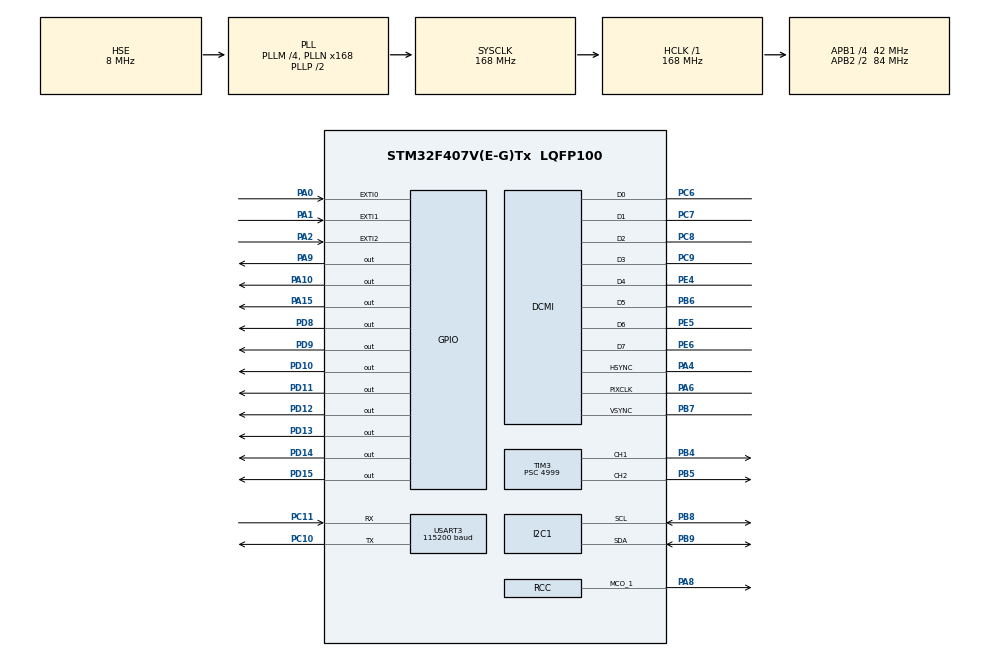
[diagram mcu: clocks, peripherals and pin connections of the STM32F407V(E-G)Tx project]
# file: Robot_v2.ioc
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DCMI.PCKPolarity=DCMI_PCKPOLARITY_RISING
DCMI.VSPolarity=DCMI_VSPOLARITY_HIGH
Dma.DCMI.1.Direction=DMA_PERIPH_TO_MEMORY
Dma.DCMI.1.FIFOMode=DMA_FIFOMODE_DISABLE
Dma.DCMI.1.Instance=DMA2_Stream1
Dma.DCMI.1.MemDataAlignment=DMA_MDATAALIGN_WORD
Dma.DCMI.1.MemInc=DMA_MINC_DISABLE
Dma.DCMI.1.Mode=DMA_NORMAL
Dma.DCMI.1.PeriphDataAlignment=DMA_PDATAALIGN_WORD
Dma.DCMI.1.PeriphInc=DMA_PINC_DISABLE
Dma.DCMI.1.Priority=DMA_PRIORITY_LOW
Dma.Request0=USART3_TX
Dma.Request1=DCMI
Dma.USART3_TX.0.Direction=DMA_MEMORY_TO_PERIPH
Dma.USART3_TX.0.FIFOMode=DMA_FIFOMODE_DISABLE
Dma.USART3_TX.0.Instance=DMA1_Stream3
Dma.USART3_TX.0.MemDataAlignment=DMA_MDATAALIGN_BYTE
Dma.USART3_TX.0.MemInc=DMA_MINC_DISABLE
Dma.USART3_TX.0.Mode=DMA_NORMAL
Dma.USART3_TX.0.PeriphDataAlignment=DMA_PDATAALIGN_BYTE
Dma.USART3_TX.0.PeriphInc=DMA_PINC_DISABLE
Dma.USART3_TX.0.Priority=DMA_PRIORITY_HIGH
I2C1.DualAddressMode=I2C_DUALADDRESS_DISABLE
I2C1.NoStretchMode=I2C_NOSTRETCH_DISABLE
I2C1.OwnAddress=0
Mcu.Family=STM32F4
Mcu.Name=STM32F407V(E-G)Tx
Mcu.Package=LQFP100
NVIC.DCMI_IRQn=true\:0\:0\:false\:false\:true\:true\:true
NVIC.DMA1_Stream3_IRQn=true\:0\:0\:false\:false\:true\:false\:true
NVIC.DMA2_Stream1_IRQn=true\:0\:0\:false\:false\:true\:false\:true
NVIC.EXTI0_IRQn=true\:0\:0\:false\:false\:true\:true\:true
NVIC.EXTI1_IRQn=true\:0\:0\:false\:false\:true\:true\:true
NVIC.EXTI2_IRQn=true\:0\:0\:false\:false\:true\:true\:true
NVIC.I2C1_ER_IRQn=true\:0\:0\:false\:false\:true\:true\:true
NVIC.I2C1_EV_IRQn=true\:0\:0\:false\:false\:true\:true\:true
NVIC.PriorityGroup=NVIC_PRIORITYGROUP_4
NVIC.RCC_IRQn=true\:0\:0\:false\:false\:true\:true\:false
NVIC.TIM3_IRQn=true\:0\:0\:false\:false\:true\:true\:true
NVIC.USART3_IRQn=true\:0\:0\:false\:false\:true\:true\:true
PA0-WKUP.GPIO_PuPd=GPIO_PULLDOWN
PA0-WKUP.Signal=GPXTI0
PA1.GPIO_PuPd=GPIO_PULLDOWN
PA1.Signal=GPXTI1
PA10.Signal=GPIO_Output
PA13.Mode=Serial_Wire
PA13.Signal=SYS_JTMS-SWDIO
PA14.Mode=Serial_Wire
PA14.Signal=SYS_JTCK-SWCLK
PA15.Signal=GPIO_Output
PA2.Signal=GPXTI2
PA4.GPIO_Speed=GPIO_SPEED_FREQ_VERY_HIGH
PA4.Mode=Slave_8_bits_External_Synchro
PA4.Signal=DCMI_HSYNC
PA6.GPIO_Speed=GPIO_SPEED_FREQ_VERY_HIGH
PA6.Mode=Slave_8_bits_External_Synchro
PA6.Signal=DCMI_PIXCLK
PA8.GPIO_Speed=GPIO_SPEED_FREQ_VERY_HIGH
PA8.Mode=Clock-out-1
PA8.Signal=RCC_MCO_1
PA9.Signal=GPIO_Output
PB4.Signal=S_TIM3_CH1
PB5.Signal=S_TIM3_CH2
PB6.GPIO_Speed=GPIO_SPEED_FREQ_VERY_HIGH
PB6.Mode=Slave_8_bits_External_Synchro
PB6.Signal=DCMI_D5
PB7.GPIO_Speed=GPIO_SPEED_FREQ_VERY_HIGH
PB7.Mode=Slave_8_bits_External_Synchro
PB7.Signal=DCMI_VSYNC
PB8.Mode=I2C
PB8.Signal=I2C1_SCL
PB9.Mode=I2C
PB9.Signal=I2C1_SDA
PC10.Mode=Asynchronous
PC10.Signal=USART3_TX
PC11.Mode=Asynchronous
PC11.Signal=USART3_RX
PC6.GPIO_Speed=GPIO_SPEED_FREQ_VERY_HIGH
PC6.Mode=Slave_8_bits_External_Synchro
PC6.Signal=DCMI_D0
PC7.GPIO_Speed=GPIO_SPEED_FREQ_VERY_HIGH
PC7.Mode=Slave_8_bits_External_Synchro
PC7.Signal=DCMI_D1
PC8.GPIO_Speed=GPIO_SPEED_FREQ_VERY_HIGH
PC8.Mode=Slave_8_bits_External_Synchro
PC8.Signal=DCMI_D2
PC9.GPIO_Speed=GPIO_SPEED_FREQ_VERY_HIGH
PC9.Mode=Slave_8_bits_External_Synchro
PC9.Signal=DCMI_D3
PD10.Signal=GPIO_Output
PD11.Signal=GPIO_Output
PD12.Signal=GPIO_Output
PD13.Signal=GPIO_Output
PD14.Signal=GPIO_Output
PD15.Signal=GPIO_Output
PD8.Signal=GPIO_Output
PD9.Signal=GPIO_Output
PE4.GPIO_Speed=GPIO_SPEED_FREQ_VERY_HIGH
PE4.Mode=Slave_8_bits_External_Synchro
PE4.Signal=DCMI_D4
PE5.GPIO_Speed=GPIO_SPEED_FREQ_VERY_HIGH
PE5.Mode=Slave_8_bits_External_Synchro
PE5.Signal=DCMI_D6
PE6.GPIO_Speed=GPIO_SPEED_FREQ_VERY_HIGH
PE6.Mode=Slave_8_bits_External_Synchro
PE6.Signal=DCMI_D7
PH0-OSC_IN.Mode=HSE-External-Oscillator
PH0-OSC_IN.Signal=RCC_OSC_IN
PH1-OSC_OUT.Mode=HSE-External-Oscillator
PH1-OSC_OUT.Signal=RCC_OSC_OUT
ProjectManager.HeapSize=0x200
ProjectManager.StackSize=0x400
ProjectManager.TargetToolchain=STM32CubeIDE
RCC.48MHZClocksFreq_Value=84000000
RCC.AHBFreq_Value=168000000
RCC.APB1CLKDivider=RCC_HCLK_DIV4
RCC.APB1Freq_Value=42000000
RCC.APB1TimFreq_Value=84000000
RCC.APB2CLKDivider=RCC_HCLK_DIV2
RCC.APB2Freq_Value=84000000
RCC.APB2TimFreq_Value=168000000
RCC.CortexFreq_Value=168000000
RCC.HCLKFreq_Value=168000000
RCC.HSE_VALUE=8000000
RCC.HSI_VALUE=16000000
RCC.LSE_VALUE=32768
RCC.PLLM=4
RCC.PLLN=168
RCC.PLLSourceVirtual=RCC_PLLSOURCE_HSE
RCC.RCC_MCO1Source=RCC_MCO1SOURCE_PLLCLK
RCC.RCC_MCODiv1=RCC_MCODIV_4
RCC.SYSCLKFreq_VALUE=168000000
RCC.SYSCLKSource=RCC_SYSCLKSOURCE_PLLCLK
RCC.VCOOutputFreq_Value=336000000
RCC.VDD_VALUE=3.6
SH.S_TIM3_CH1.0=TIM3_CH1,PWM Generation1 CH1
SH.S_TIM3_CH2.0=TIM3_CH2,PWM Generation2 CH2
TIM1.Channel-Input_Capture1_from_TI1=TIM_CHANNEL_1
TIM1.Period=99
TIM1.Prescaler=4999
TIM3.Channel-PWM\ Generation1\ CH1=TIM_CHANNEL_1
TIM3.Channel-PWM\ Generation2\ CH2=TIM_CHANNEL_2
TIM3.Period=99
TIM3.Prescaler=4999
USART3.BaudRate=115200
USART3.VirtualMode=VM_ASYNC
VP_TIM1_VS_ClockSourceINT.Mode=Internal
VP_TIM3_VS_ClockSourceINT.Mode=Internal
board=custom

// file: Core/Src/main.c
/* USER CODE BEGIN Header */
/**
  ******************************************************************************
  * @file           : main.c
  * @brief          : Main program body
  ******************************************************************************
  * @attention
  *
  * <h2><center>&copy; Copyright (c) 2020 STMicroelectronics.
  * All rights reserved.</center></h2>
  *
  * This software component is licensed by ST under BSD 3-Clause license,
  * the "License"; You may not use this file except in compliance with the
  * License. You may obtain a copy of the License at:
  *                        opensource.org/licenses/BSD-3-Clause
  *
  ******************************************************************************
  */
/* USER CODE END Header */

#include "main.h"

/* USER CODE BEGIN Includes */
#include "stdio.h"
#include "string.h"
#include "stdlib.h"
#include "common.h"
#include "./ov7670/ov7670.h"

/* USER CODE END Includes */

DCMI_HandleTypeDef hdcmi;
DMA_HandleTypeDef hdma_dcmi;

I2C_HandleTypeDef hi2c1;

TIM_HandleTypeDef htim1;
TIM_HandleTypeDef htim3;

UART_HandleTypeDef huart3;
DMA_HandleTypeDef hdma_usart3_tx;

/* USER CODE BEGIN PV */
int j;
int k;
int Duty_left, Duty_right, dir_left, dir_right;

uint8_t sendUART[4] = {'A', 'T','\r','\n'};
uint16_t sizeSendUART = 4;

uint16_t size_s_mux_1 = 13;
uint8_t s_mux_1[13] = {'A','T','+','C','I','P','M','U','X','=','1','\r','\n'};

uint16_t size_s_serv_1 = 22;
uint8_t s_serv_1[22] = {'A','T','+','C','I','P','S','E','R','V','E','R','=','1',',','5','0','1','0','0','\r','\n'};

uint8_t receiveUART[1];
uint16_t sizeReceiveUART = 1;

// i2c table begin

// i2c table end

char packet[100];

int read_bool=0;
/* USER CODE END PV */

void SystemClock_Config(void);
static void MX_GPIO_Init(void);
static void MX_DMA_Init(void);
static void MX_USART3_UART_Init(void);
static void MX_TIM3_Init(void);
static void MX_DCMI_Init(void);
static void MX_I2C1_Init(void);
static void MX_TIM1_Init(void);
/* USER CODE BEGIN PFP */

int _write(int file, char *ptr, int len){ // do fprint
	int i=0;
	for(i=0; i<len; i++){
		ITM_SendChar(*ptr++);

	}
	return len;
}

void HAL_GPIO_EXTI_Callback(uint16_t GPIO_Pin)
{
	//HAL_Delay(10);
	//HAL_GPIO_TogglePin(GPIOD, GPIO_PIN_13);
	if(HAL_GPIO_ReadPin(GPIOA, GPIO_PIN_0) == GPIO_PIN_SET){

		HAL_GPIO_TogglePin(GPIOD, GPIO_PIN_14);
		//Duty-=1;
	//	if(Duty < 100){
	//		Duty = Duty + 1;
	//	}
	} else if(HAL_GPIO_ReadPin(GPIOA, GPIO_PIN_1) == GPIO_PIN_SET){
	//	HAL_Delay(10);
		HAL_GPIO_TogglePin(GPIOD, GPIO_PIN_13);
	//	if(Duty > 0){
	//		Duty = Duty - 1;
	//	}

	}

	for(int i=0; i<1000000; i++){

	}

}
	/*else if(HAL_GPIO_ReadPin(GPIOA, GPIO_PIN_1) == GPIO_PIN_SET) {
		HAL_GPIO_TogglePin(GPIOD, GPIO_PIN_14);
		Duty += 10;
	} else if(HAL_GPIO_ReadPin(GPIOA, GPIO_PIN_2) == GPIO_PIN_SET) {
		HAL_GPIO_TogglePin(GPIOD, GPIO_PIN_14);
		Duty -= 10;
	}*/
	//HAL_Delay(5);
void process_pack_motor(){
	printf("process_motor\n");
	char str_dir_left;
	char str_dir_right;
	char str_duty_left[5];
	char str_duty_right[5];

	//wypisanie całego pakietu
	for(int i=0; i<strlen(packet); i++){
		printf("%c",packet[i]);
	}
	printf("\n");

	str_dir_left = packet[3];
	str_dir_right = packet[5];

	str_duty_left[0] = packet[7];
	str_duty_left[1] = packet[8];

	str_duty_right[0] = packet[10];
	str_duty_right[1] = packet[11];
	//strncat(str_duty_right, &packet[10], 1);

	Duty_left = atoi(str_duty_left);
	Duty_right = atoi(str_duty_right);
	dir_left = str_dir_left - '0';
    dir_right = str_dir_right - '0';
	/*char str[10] = "80";
	dir_left = atoi(str);
	printf("a - %d",dir_left);
	char str2[10] = "07";
	dir_right = atoi(str2);*/

//	printf("dir-left - %c\n",str_dir_right);
//	printf("dir-right - %c\n",str_dir_left);
//	printf("duty-left - %s\n",str_duty_left);
//	printf("duty-right - %s\n",str_duty_right);

	/*for(int i=0; i<2; i++){
		printf("dir-left - %c\n",str_duty_left[i]);
	}
	for(int i=0; i<2; i++){
		printf("dir-left - %c\n",str_duty_right[i]);
	}*/

	printf("dir-left - %d\n",dir_left);
	printf("dir-right - %d\n",dir_right);
	printf("duty-left - %d\n",Duty_left);
	printf("duty-right - %d\n",Duty_right);

	if(dir_left == 1){
		HAL_GPIO_WritePin(GPIOD, GPIO_PIN_12, GPIO_PIN_SET);
		HAL_GPIO_WritePin(GPIOD, GPIO_PIN_13, GPIO_PIN_RESET);
	} else if(dir_left == 0){
		HAL_GPIO_WritePin(GPIOD, GPIO_PIN_12, GPIO_PIN_RESET);
		HAL_GPIO_WritePin(GPIOD, GPIO_PIN_13, GPIO_PIN_SET);
	} else if(dir_left == 2){
		HAL_GPIO_WritePin(GPIOD, GPIO_PIN_12, GPIO_PIN_RESET);
		HAL_GPIO_WritePin(GPIOD, GPIO_PIN_13, GPIO_PIN_RESET);
	}

	if(dir_right == 1){
		HAL_GPIO_WritePin(GPIOD, GPIO_PIN_14, GPIO_PIN_SET);
		HAL_GPIO_WritePin(GPIOD, GPIO_PIN_15, GPIO_PIN_RESET);
	} else if(dir_right == 0){
		HAL_GPIO_WritePin(GPIOD, GPIO_PIN_14, GPIO_PIN_RESET);
		HAL_GPIO_WritePin(GPIOD, GPIO_PIN_15, GPIO_PIN_SET);
	} else if(dir_right == 2){
		HAL_GPIO_WritePin(GPIOD, GPIO_PIN_14, GPIO_PIN_RESET);
		HAL_GPIO_WritePin(GPIOD, GPIO_PIN_15, GPIO_PIN_RESET);
	}

	for(int i=0; i<strlen(packet); i++){
		packet[i]='\0';
	}

}

void read_pack(char mark){

	printf("read: ");
	//printf("%c",mark);
	strncat(packet, &mark, 1);

	if(mark == ';'){
		for(int i=0; i<strlen(packet); i++){
			printf("%c",packet[i]);
		}

		if(packet[1] == '0'){
			process_pack_motor();
		}

		for(int i=0; i<strlen(packet); i++){
			packet[i]='\0';
		}
	}
	/*if(mark != ':'){
		printf("read2\n");
		if(mark == ';'){
			printf("read3\n");
			if(packet[0] == '0'){
				printf("%c",packet[0]);
				process_pack_motor();
			}
		} else {
			printf("read4\n");
			strncat(packet, &mark, 1);
			//packet += mark;
			printf("%c",mark);
		}
	}*/

}

void HAL_TIM_PeriodElapsedCallback(TIM_HandleTypeDef *htim){

	 TIM3->CCR1 = Duty_left;
	 TIM3->CCR2 = Duty_right;
	// HAL_UART_Transmit_IT(&huart3, sendUART, sizeSendUART);

}

void HAL_UART_RxCpltCallback(UART_HandleTypeDef *huart) {
	//printf("RX");
	if(huart->Instance == USART3){
		//HAL_GPIO_TogglePin(GPIOD, GPIO_PIN_14);
		printf("%c", receiveUART[0]);
		//printf("\n");
		//printf(" \n");

		if(receiveUART[0] == ':'){
			read_bool=1;
		}

		if(receiveUART[0] == ';'){
			read_bool=0;
			printf("[");
			printf("%c", receiveUART[0]);
			printf("]");
			read_pack(receiveUART[0]);

		}

		if(read_bool == 1){
			printf("[");
			printf("%c", receiveUART[0]);
			printf("]");
			read_pack(receiveUART[0]);
	    	//printf("%u", receiveUART[0]);

		}
		//HAL_Delay(100);
		HAL_UART_Receive_IT(&huart3, receiveUART, sizeReceiveUART);

	}
}

// i2c func begin

// i2c func end

/* USER CODE END PFP */

/* USER CODE BEGIN 0 */
volatile int i = 0;
uint8_t count=0; // do testów printf
/* USER CODE END 0 */

int main(void)
{

  /* MCU Configuration--------------------------------------------------------*/

  /* Reset of all peripherals, Initializes the Flash interface and the Systick. */
  HAL_Init();

  /* Configure the system clock */
  SystemClock_Config();

  /* Initialize all configured peripherals */
  MX_GPIO_Init();
  MX_DMA_Init();
  MX_USART3_UART_Init();
  MX_TIM3_Init();
  MX_DCMI_Init();
  MX_I2C1_Init();
  MX_TIM1_Init();
  /* USER CODE BEGIN 2 */

  //ITM_SendChar( 65 );
  Duty_left = 0;
  Duty_right = 0;
  HAL_GPIO_WritePin(GPIOD, GPIO_PIN_12, GPIO_PIN_RESET);
  HAL_GPIO_WritePin(GPIOD, GPIO_PIN_13, GPIO_PIN_RESET);
  HAL_GPIO_WritePin(GPIOD, GPIO_PIN_14, GPIO_PIN_RESET);
  HAL_GPIO_WritePin(GPIOD, GPIO_PIN_15, GPIO_PIN_RESET);

  HAL_GPIO_WritePin(GPIOD, GPIO_PIN_11, GPIO_PIN_SET);
  HAL_GPIO_WritePin(GPIOA, GPIO_PIN_9, GPIO_PIN_SET);

  HAL_TIM_Base_Start_IT(&htim3);
  HAL_TIM_PWM_Start(&htim3, TIM_CHANNEL_1);
  HAL_TIM_PWM_Start(&htim3, TIM_CHANNEL_2);
  //HAL_TIM_PWM_Start(&htim4, TIM_CHANNEL_3);

 // TIM4->CCR1 = Duty;
 // TIM4->CCR2 = Duty;

 // HAL_UART_Transmit_IT(&huart3, sendUART, sizeSendUART);

  HAL_UART_Receive_IT(&huart3, receiveUART, sizeReceiveUART);
  //HAL_UART_Transmit_IT(&huart3, sendUART, sizeSendUART);
 // printf("%u",sendUART[0]);
  printf("CONSOLE GOOD \n");
 // HAL_Delay(300);
 // HAL_UART_Transmit_IT(&huart3, sendUART, sizeSendUART);
  HAL_GPIO_WritePin(GPIOA, GPIO_PIN_10, GPIO_PIN_SET);
  HAL_UART_Transmit_IT(&huart3, sendUART, sizeSendUART);
  HAL_Delay(6000);
  HAL_UART_Transmit_IT(&huart3, s_mux_1, size_s_mux_1);
  HAL_GPIO_WritePin(GPIOD, GPIO_PIN_8, GPIO_PIN_SET);
  HAL_Delay(6000);
  HAL_GPIO_WritePin(GPIOD, GPIO_PIN_9, GPIO_PIN_SET);
  HAL_UART_Transmit_IT(&huart3, s_serv_1, size_s_serv_1);
  HAL_Delay(6000);
  HAL_GPIO_WritePin(GPIOA, GPIO_PIN_15, GPIO_PIN_SET);
// HAL_GPIO_WritePin(GPIOD, GPIO_PIN_10, GPIO_PIN_SET);
 // HAL_UART_Transmit_IT(&huart3, send_w_3, size_w3);

 // HAL_UART_Transmit_IT(&huart3, sendUART, sizeSendUART);

 // printf("%c", sendUART[0]);
 // printf("%c", sendUART[1]);

 // printf(sendUART[0]);

 // printf(receiveUART[0]);

  //i2c begin
  uint32_t DCH0DSA = 0;

  ov7670_init(&hdcmi, &hdma_dcmi, &hi2c1);
  ov7670_config(OV7670_MODE_QVGA_RGB565);
  ov7670_startCap(OV7670_CAP_CONTINUOUS, DCH0DSA);
 // ov7670_startCap();

  //i2c end

  /* USER CODE END 2 */

  /* Infinite loop */
  /* USER CODE BEGIN WHILE */
  while (1)
  {
	//HAL_UART_Transmit_IT(&huart3, sendUART, sizeSendUART);
	//printf("%c", sendUART[0]);
	//printf("%c", sendUART[1]);
	//printf(" \n");
   // HAL_Delay(2000);
	  //for (i=0;i<1000000;i++);

    /* USER CODE END WHILE */

    /* USER CODE BEGIN 3 */
	 // HAL_UART_Transmit_IT(&huart3, sendUART, sizeSendUART);
	// HAL_Delay(500);

  }
  /* USER CODE END 3 */
}

void SystemClock_Config(void)
{
  RCC_OscInitTypeDef RCC_OscInitStruct = {0};
  RCC_ClkInitTypeDef RCC_ClkInitStruct = {0};

  /** Configure the main internal regulator output voltage
  */
  __HAL_RCC_PWR_CLK_ENABLE();
  __HAL_PWR_VOLTAGESCALING_CONFIG(PWR_REGULATOR_VOLTAGE_SCALE1);
  /** Initializes the CPU, AHB and APB busses clocks
  */
  RCC_OscInitStruct.OscillatorType = RCC_OSCILLATORTYPE_HSE;
  RCC_OscInitStruct.HSEState = RCC_HSE_ON;
  RCC_OscInitStruct.PLL.PLLState = RCC_PLL_ON;
  RCC_OscInitStruct.PLL.PLLSource = RCC_PLLSOURCE_HSE;
  RCC_OscInitStruct.PLL.PLLM = 4;
  RCC_OscInitStruct.PLL.PLLN = 168;
  RCC_OscInitStruct.PLL.PLLP = RCC_PLLP_DIV2;
  RCC_OscInitStruct.PLL.PLLQ = 4;
  if (HAL_RCC_OscConfig(&RCC_OscInitStruct) != HAL_OK)
  {
    Error_Handler();
  }
  /** Initializes the CPU, AHB and APB busses clocks
  */
  RCC_ClkInitStruct.ClockType = RCC_CLOCKTYPE_HCLK|RCC_CLOCKTYPE_SYSCLK
                              |RCC_CLOCKTYPE_PCLK1|RCC_CLOCKTYPE_PCLK2;
  RCC_ClkInitStruct.SYSCLKSource = RCC_SYSCLKSOURCE_PLLCLK;
  RCC_ClkInitStruct.AHBCLKDivider = RCC_SYSCLK_DIV1;
  RCC_ClkInitStruct.APB1CLKDivider = RCC_HCLK_DIV4;
  RCC_ClkInitStruct.APB2CLKDivider = RCC_HCLK_DIV2;

  if (HAL_RCC_ClockConfig(&RCC_ClkInitStruct, FLASH_LATENCY_5) != HAL_OK)
  {
    Error_Handler();
  }
  HAL_RCC_MCOConfig(RCC_MCO1, RCC_MCO1SOURCE_PLLCLK, RCC_MCODIV_4);
}

static void MX_DCMI_Init(void)
{

  hdcmi.Instance = DCMI;
  hdcmi.Init.SynchroMode = DCMI_SYNCHRO_HARDWARE;
  hdcmi.Init.PCKPolarity = DCMI_PCKPOLARITY_RISING;
  hdcmi.Init.VSPolarity = DCMI_VSPOLARITY_HIGH;
  hdcmi.Init.HSPolarity = DCMI_HSPOLARITY_LOW;
  hdcmi.Init.CaptureRate = DCMI_CR_ALL_FRAME;
  hdcmi.Init.ExtendedDataMode = DCMI_EXTEND_DATA_8B;
  hdcmi.Init.JPEGMode = DCMI_JPEG_DISABLE;
  if (HAL_DCMI_Init(&hdcmi) != HAL_OK)
  {
    Error_Handler();
  }

}

static void MX_I2C1_Init(void)
{

  hi2c1.Instance = I2C1;
  hi2c1.Init.ClockSpeed = 100000;
  hi2c1.Init.DutyCycle = I2C_DUTYCYCLE_2;
  hi2c1.Init.OwnAddress1 = 0;
  hi2c1.Init.AddressingMode = I2C_ADDRESSINGMODE_7BIT;
  hi2c1.Init.DualAddressMode = I2C_DUALADDRESS_DISABLE;
  hi2c1.Init.OwnAddress2 = 0;
  hi2c1.Init.GeneralCallMode = I2C_GENERALCALL_DISABLE;
  hi2c1.Init.NoStretchMode = I2C_NOSTRETCH_DISABLE;
  if (HAL_I2C_Init(&hi2c1) != HAL_OK)
  {
    Error_Handler();
  }

}

static void MX_TIM1_Init(void)
{

  TIM_ClockConfigTypeDef sClockSourceConfig = {0};
  TIM_MasterConfigTypeDef sMasterConfig = {0};

  htim1.Instance = TIM1;
  htim1.Init.Prescaler = 4999;
  htim1.Init.CounterMode = TIM_COUNTERMODE_UP;
  htim1.Init.Period = 99;
  htim1.Init.ClockDivision = TIM_CLOCKDIVISION_DIV1;
  htim1.Init.RepetitionCounter = 0;
  htim1.Init.AutoReloadPreload = TIM_AUTORELOAD_PRELOAD_DISABLE;
  if (HAL_TIM_Base_Init(&htim1) != HAL_OK)
  {
    Error_Handler();
  }
  sClockSourceConfig.ClockSource = TIM_CLOCKSOURCE_INTERNAL;
  if (HAL_TIM_ConfigClockSource(&htim1, &sClockSourceConfig) != HAL_OK)
  {
    Error_Handler();
  }
  sMasterConfig.MasterOutputTrigger = TIM_TRGO_RESET;
  sMasterConfig.MasterSlaveMode = TIM_MASTERSLAVEMODE_DISABLE;
  if (HAL_TIMEx_MasterConfigSynchronization(&htim1, &sMasterConfig) != HAL_OK)
  {
    Error_Handler();
  }

}

static void MX_TIM3_Init(void)
{

  TIM_ClockConfigTypeDef sClockSourceConfig = {0};
  TIM_MasterConfigTypeDef sMasterConfig = {0};
  TIM_OC_InitTypeDef sConfigOC = {0};

  htim3.Instance = TIM3;
  htim3.Init.Prescaler = 4999;
  htim3.Init.CounterMode = TIM_COUNTERMODE_UP;
  htim3.Init.Period = 99;
  htim3.Init.ClockDivision = TIM_CLOCKDIVISION_DIV1;
  htim3.Init.AutoReloadPreload = TIM_AUTORELOAD_PRELOAD_DISABLE;
  if (HAL_TIM_Base_Init(&htim3) != HAL_OK)
  {
    Error_Handler();
  }
  sClockSourceConfig.ClockSource = TIM_CLOCKSOURCE_INTERNAL;
  if (HAL_TIM_ConfigClockSource(&htim3, &sClockSourceConfig) != HAL_OK)
  {
    Error_Handler();
  }
  if (HAL_TIM_PWM_Init(&htim3) != HAL_OK)
  {
    Error_Handler();
  }
  sMasterConfig.MasterOutputTrigger = TIM_TRGO_RESET;
  sMasterConfig.MasterSlaveMode = TIM_MASTERSLAVEMODE_DISABLE;
  if (HAL_TIMEx_MasterConfigSynchronization(&htim3, &sMasterConfig) != HAL_OK)
  {
    Error_Handler();
  }
  sConfigOC.OCMode = TIM_OCMODE_PWM1;
  sConfigOC.Pulse = 0;
  sConfigOC.OCPolarity = TIM_OCPOLARITY_HIGH;
  sConfigOC.OCFastMode = TIM_OCFAST_DISABLE;
  if (HAL_TIM_PWM_ConfigChannel(&htim3, &sConfigOC, TIM_CHANNEL_1) != HAL_OK)
  {
    Error_Handler();
  }
  if (HAL_TIM_PWM_ConfigChannel(&htim3, &sConfigOC, TIM_CHANNEL_2) != HAL_OK)
  {
    Error_Handler();
  }
  HAL_TIM_MspPostInit(&htim3);

}

static void MX_USART3_UART_Init(void)
{

  huart3.Instance = USART3;
  huart3.Init.BaudRate = 115200;
  huart3.Init.WordLength = UART_WORDLENGTH_8B;
  huart3.Init.StopBits = UART_STOPBITS_1;
  huart3.Init.Parity = UART_PARITY_NONE;
  huart3.Init.Mode = UART_MODE_TX_RX;
  huart3.Init.HwFlowCtl = UART_HWCONTROL_NONE;
  huart3.Init.OverSampling = UART_OVERSAMPLING_16;
  if (HAL_UART_Init(&huart3) != HAL_OK)
  {
    Error_Handler();
  }

}

static void MX_DMA_Init(void)
{

  /* DMA controller clock enable */
  __HAL_RCC_DMA1_CLK_ENABLE();
  __HAL_RCC_DMA2_CLK_ENABLE();

  /* DMA interrupt init */
  /* DMA1_Stream3_IRQn interrupt configuration */
  HAL_NVIC_SetPriority(DMA1_Stream3_IRQn, 0, 0);
  HAL_NVIC_EnableIRQ(DMA1_Stream3_IRQn);
  /* DMA2_Stream1_IRQn interrupt configuration */
  HAL_NVIC_SetPriority(DMA2_Stream1_IRQn, 0, 0);
  HAL_NVIC_EnableIRQ(DMA2_Stream1_IRQn);

}

static void MX_GPIO_Init(void)
{
  GPIO_InitTypeDef GPIO_InitStruct = {0};

  /* GPIO Ports Clock Enable */
  __HAL_RCC_GPIOE_CLK_ENABLE();
  __HAL_RCC_GPIOH_CLK_ENABLE();
  __HAL_RCC_GPIOA_CLK_ENABLE();
  __HAL_RCC_GPIOD_CLK_ENABLE();
  __HAL_RCC_GPIOC_CLK_ENABLE();
  __HAL_RCC_GPIOB_CLK_ENABLE();

  /*Configure GPIO pin Output Level */
  HAL_GPIO_WritePin(GPIOD, GPIO_PIN_8|GPIO_PIN_9|GPIO_PIN_10|GPIO_PIN_11
                          |GPIO_PIN_12|GPIO_PIN_13|GPIO_PIN_14|GPIO_PIN_15, GPIO_PIN_RESET);

  /*Configure GPIO pin Output Level */
  HAL_GPIO_WritePin(GPIOA, GPIO_PIN_9|GPIO_PIN_10|GPIO_PIN_15, GPIO_PIN_RESET);

  /*Configure GPIO pins : PA0 PA1 */
  GPIO_InitStruct.Pin = GPIO_PIN_0|GPIO_PIN_1;
  GPIO_InitStruct.Mode = GPIO_MODE_IT_RISING;
  GPIO_InitStruct.Pull = GPIO_PULLDOWN;
  HAL_GPIO_Init(GPIOA, &GPIO_InitStruct);

  /*Configure GPIO pin : PA2 */
  GPIO_InitStruct.Pin = GPIO_PIN_2;
  GPIO_InitStruct.Mode = GPIO_MODE_IT_RISING;
  GPIO_InitStruct.Pull = GPIO_NOPULL;
  HAL_GPIO_Init(GPIOA, &GPIO_InitStruct);

  /*Configure GPIO pins : PD8 PD9 PD10 PD11
                           PD12 PD13 PD14 PD15 */
  GPIO_InitStruct.Pin = GPIO_PIN_8|GPIO_PIN_9|GPIO_PIN_10|GPIO_PIN_11
                          |GPIO_PIN_12|GPIO_PIN_13|GPIO_PIN_14|GPIO_PIN_15;
  GPIO_InitStruct.Mode = GPIO_MODE_OUTPUT_PP;
  GPIO_InitStruct.Pull = GPIO_NOPULL;
  GPIO_InitStruct.Speed = GPIO_SPEED_FREQ_LOW;
  HAL_GPIO_Init(GPIOD, &GPIO_InitStruct);

  /*Configure GPIO pin : PA8 */
  GPIO_InitStruct.Pin = GPIO_PIN_8;
  GPIO_InitStruct.Mode = GPIO_MODE_AF_PP;
  GPIO_InitStruct.Pull = GPIO_NOPULL;
  GPIO_InitStruct.Speed = GPIO_SPEED_FREQ_VERY_HIGH;
  GPIO_InitStruct.Alternate = GPIO_AF0_MCO;
  HAL_GPIO_Init(GPIOA, &GPIO_InitStruct);

  /*Configure GPIO pins : PA9 PA10 PA15 */
  GPIO_InitStruct.Pin = GPIO_PIN_9|GPIO_PIN_10|GPIO_PIN_15;
  GPIO_InitStruct.Mode = GPIO_MODE_OUTPUT_PP;
  GPIO_InitStruct.Pull = GPIO_NOPULL;
  GPIO_InitStruct.Speed = GPIO_SPEED_FREQ_LOW;
  HAL_GPIO_Init(GPIOA, &GPIO_InitStruct);

  /* EXTI interrupt init*/
  HAL_NVIC_SetPriority(EXTI0_IRQn, 0, 0);
  HAL_NVIC_EnableIRQ(EXTI0_IRQn);

  HAL_NVIC_SetPriority(EXTI1_IRQn, 0, 0);
  HAL_NVIC_EnableIRQ(EXTI1_IRQn);

  HAL_NVIC_SetPriority(EXTI2_IRQn, 0, 0);
  HAL_NVIC_EnableIRQ(EXTI2_IRQn);

}

void Error_Handler(void)
{
}

/************************ (C) COPYRIGHT STMicroelectronics *****END OF FILE****/
